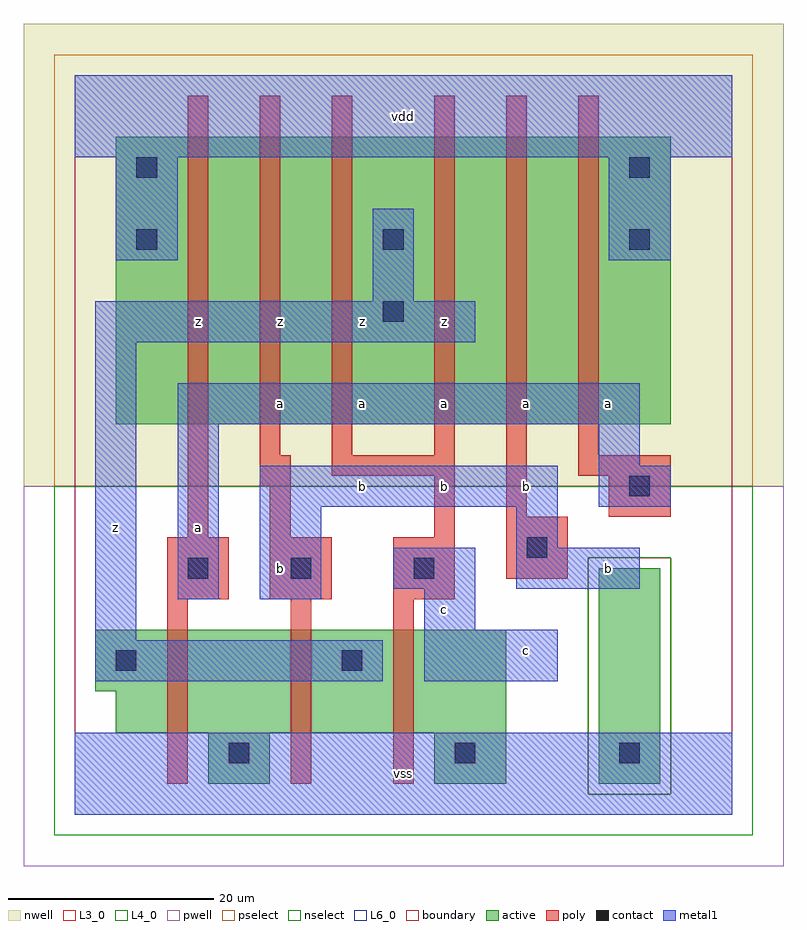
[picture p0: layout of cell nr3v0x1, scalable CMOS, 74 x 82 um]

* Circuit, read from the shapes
.subckt nr3v0x1 a b c vdd vss z
M1 vss a z vss nfet w=10u l=2u
M2 z b vss vss nfet w=10u l=2u
M3 vss c z vss nfet w=10u l=2u
M4 n1 a vdd n2 pfet w=28u l=2u
M5 n3 b n1 n2 pfet w=28u l=2u
M6 z c n3 n2 pfet w=28u l=2u
M7 n4 c z n2 pfet w=28u l=2u
M8 n5 b n4 n2 pfet w=28u l=2u
M9 vdd a n5 n2 pfet w=28u l=2u
.ends

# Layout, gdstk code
import gdstk
lib = gdstk.Library(unit=1e-6, precision=1e-09)
def R(c, l, rs):  # rectangles x0, y0, x1, y1
    for r in rs: c.add(gdstk.rectangle(r[:2], r[2:], *l))
def A(c, l, x, y, w, h, nx, ny, dx, dy):  # array of equal rectangles
    R(c, l, [(x+i*dx, y+j*dy, x+i*dx+w, y+j*dy+h) for i in range(nx) for j in range(ny)])
L3_0 = (3, 0)
L4_0 = (4, 0)
L6_0 = (6, 0)
contact = (25, 0)
pwell = (41, 0)
nwell = (42, 0)
active = (43, 0)
pselect = (44, 0)
nselect = (45, 0)
poly = (46, 0)
metal1 = (49, 0)
boundary = (63, 0)

nr3v0x1 = lib.new_cell('nr3v0x1')
R(nr3v0x1, L3_0, [(13,3,19,8), (35,3,42,8), (4,8,42,12), (2,12,42,18)])
R(nr3v0x1, L4_0, [(4,38,58,66)])
R(nr3v0x1, L6_0, [(51,3,57,24)])
A(nr3v0x1, contact, 6, 55, 2, 2, 3, 1, 24, 0)
R(nr3v0x1, contact, [(15,5,17,7), (37,5,39,7), (53,5,55,7), (4,14,6,16), (26,14,28,16), (11,23,13,25), (21,23,23,25), (33,23,35,25), (44,25,46,27), (54,31,56,33), (30,48,32,50), (6,62,8,64), (54,62,56,64)])
R(nr3v0x1, pwell, [(-5,-5,69,32)])
R(nr3v0x1, nwell, [(-5,32,69,77)])
R(nr3v0x1, active, [(13,3,19,8), (35,3,42,8), (51,3,57,24), (4,8,42,12), (2,12,42,18), (4,38,58,66)])
R(nr3v0x1, pselect, [(50,2,58,25), (-2,32,66,74)])
R(nr3v0x1, nselect, [(-2,-2,66,2), (-2,2,50,25), (58,2,66,25), (-2,25,66,32)])
R(nr3v0x1, poly, [(9,3,11,21), (21,3,23,21), (31,3,33,21), (9,21,15,27), (19,21,25,27), (31,21,37,27), (42,23,48,29), (11,27,13,70), (19,27,21,32), (35,27,37,33), (42,29,44,70), (52,29,58,33), (18,32,21,35), (25,33,37,35), (49,33,58,35), (18,35,20,70), (25,35,27,70), (35,35,37,70), (49,35,51,70)])
R(nr3v0x1, metal1, [(0,0,64,8), (2,13,30,17), (34,13,47,18), (2,17,6,46), (34,18,39,22), (10,21,14,38), (18,21,24,30), (31,22,39,26), (43,22,55,26), (43,26,47,30), (18,30,47,34), (51,30,58,34), (51,34,55,38), (10,38,55,42), (2,46,39,50), (29,50,33,59), (4,54,10,64), (52,54,58,64), (0,64,64,72)])
R(nr3v0x1, boundary, [(0,0,64,72)])
nr3v0x1.add(gdstk.Label('a', (12,28), layer=49, texttype=0))
nr3v0x1.add(gdstk.Label('z', (4,28), layer=49, texttype=0))
nr3v0x1.add(gdstk.Label('z', (12,48), layer=49, texttype=0))
nr3v0x1.add(gdstk.Label('b', (28,32), layer=49, texttype=0))
nr3v0x1.add(gdstk.Label('b', (20,24), layer=49, texttype=0))
nr3v0x1.add(gdstk.Label('a', (20,40), layer=49, texttype=0))
nr3v0x1.add(gdstk.Label('a', (28,40), layer=49, texttype=0))
nr3v0x1.add(gdstk.Label('z', (28,48), layer=49, texttype=0))
nr3v0x1.add(gdstk.Label('z', (20,48), layer=49, texttype=0))
nr3v0x1.add(gdstk.Label('vss', (32,4), layer=49, texttype=0))
nr3v0x1.add(gdstk.Label('c', (44,16), layer=49, texttype=0))
nr3v0x1.add(gdstk.Label('c', (36,20), layer=49, texttype=0))
nr3v0x1.add(gdstk.Label('b', (36,32), layer=49, texttype=0))
nr3v0x1.add(gdstk.Label('b', (44,32), layer=49, texttype=0))
nr3v0x1.add(gdstk.Label('a', (44,40), layer=49, texttype=0))
nr3v0x1.add(gdstk.Label('a', (36,40), layer=49, texttype=0))
nr3v0x1.add(gdstk.Label('z', (36,48), layer=49, texttype=0))
nr3v0x1.add(gdstk.Label('vdd', (32,68), layer=49, texttype=0))
nr3v0x1.add(gdstk.Label('b', (52,24), layer=49, texttype=0))
nr3v0x1.add(gdstk.Label('a', (52,40), layer=49, texttype=0))

lib.write_gds('nr3v0x1.gds')
